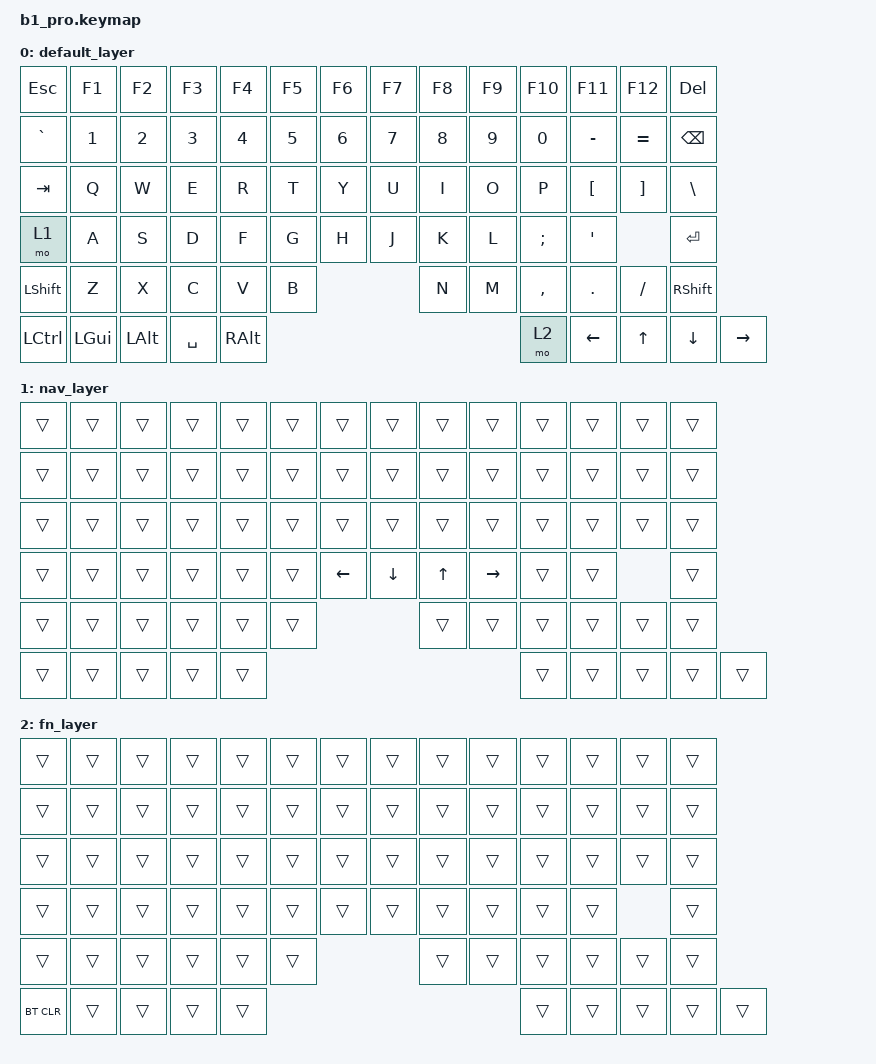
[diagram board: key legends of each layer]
/*
 * Copyright (c) 2024 The ZMK Contributors
 * SPDX-License-Identifier: MIT
 */

#include <behaviors.dtsi>
#include <dt-bindings/zmk/keys.h>
#include <dt-bindings/zmk/bt.h>

/ {
    keymap {
        compatible = "zmk,keymap";

        default_layer {
            bindings = <
                &kp ESC     &kp F1    &kp F2    &kp F3    &kp F4    &kp F5    &kp F6    &kp F7    &kp F8    &kp F9     &kp F10   &kp F11   &kp F12   &kp DEL
                &kp GRAVE   &kp N1    &kp N2    &kp N3    &kp N4    &kp N5    &kp N6    &kp N7    &kp N8    &kp N9     &kp N0    &kp MINUS &kp EQUAL &kp BSPC
                &kp TAB     &kp Q     &kp W     &kp E     &kp R     &kp T     &kp Y     &kp U     &kp I     &kp O      &kp P     &kp LBKT  &kp RBKT  &kp BSLH
                &mo 1       &kp A     &kp S     &kp D     &kp F     &kp G     &kp H     &kp J     &kp K     &kp L      &kp SEMI  &kp SQT            &kp RET
                &kp LSHFT             &kp Z     &kp X     &kp C     &kp V     &kp B     &kp N     &kp M     &kp COMMA  &kp DOT   &kp FSLH           &kp RSHFT
                &kp LCTRL   &kp LGUI  &kp LALT                      &kp SPACE                                &kp RALT   &mo 2     &kp LEFT  &kp UP    &kp DOWN  &kp RIGHT
            >;
        };

        nav_layer {
            bindings = <
                &trans      &trans    &trans    &trans    &trans    &trans    &trans    &trans    &trans    &trans     &trans    &trans    &trans    &trans
                &trans      &trans    &trans    &trans    &trans    &trans    &trans    &trans    &trans    &trans     &trans    &trans    &trans    &trans
                &trans      &trans    &trans    &trans    &trans    &trans    &trans    &trans    &trans    &trans     &trans    &trans    &trans    &trans
                &trans      &trans    &trans    &trans    &trans    &trans    &kp LEFT  &kp DOWN  &kp UP    &kp RIGHT  &trans    &trans             &trans
                &trans               &trans    &trans    &trans    &trans    &trans    &trans    &trans    &trans     &trans    &trans             &trans
                &trans      &trans    &trans                        &trans                                   &trans     &trans    &trans    &trans    &trans    &trans
            >;
        };

        fn_layer {
            bindings = <
                &trans      &trans    &trans    &trans    &trans    &trans    &trans    &trans    &trans    &trans     &trans    &trans    &trans    &trans
                &trans      &trans    &trans    &trans    &trans    &trans    &trans    &trans    &trans    &trans     &trans    &trans    &trans    &trans
                &trans      &trans    &trans    &trans    &trans    &trans    &trans    &trans    &trans    &trans     &trans    &trans    &trans    &trans
                &trans      &trans    &trans    &trans    &trans    &trans    &trans    &trans    &trans    &trans     &trans    &trans             &trans
                &trans               &trans    &trans    &trans    &trans    &trans    &trans    &trans    &trans     &trans    &trans             &trans
                &bt BT_CLR  &trans    &trans                        &trans                                   &trans     &trans    &trans    &trans    &trans    &trans
            >;
        };
    };
};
